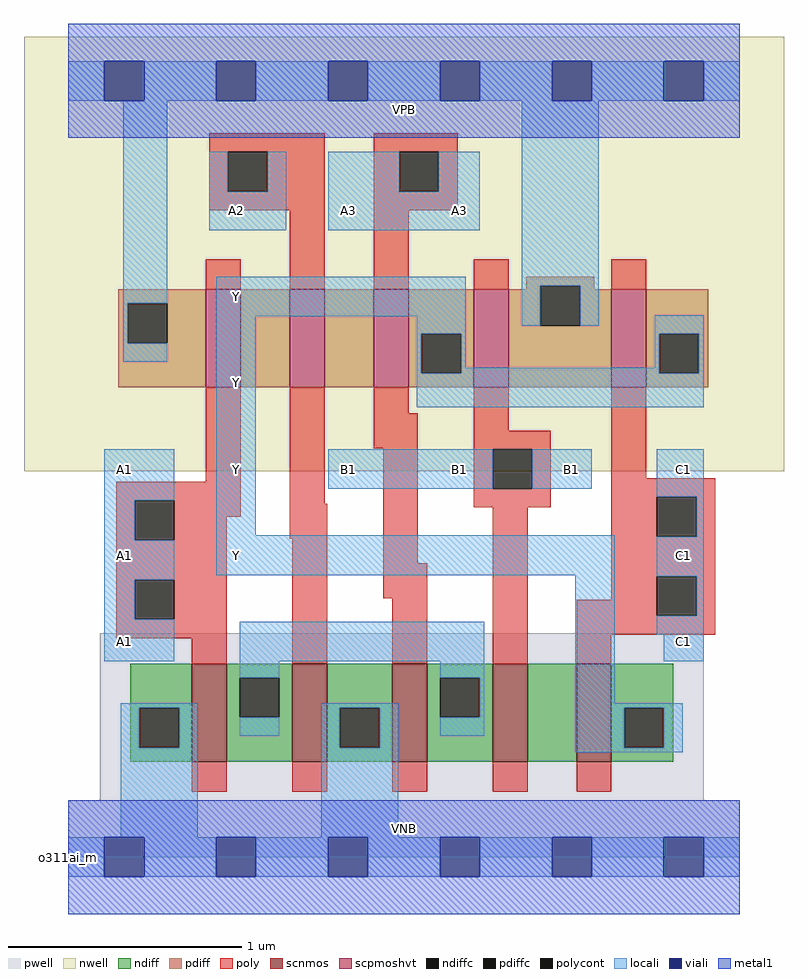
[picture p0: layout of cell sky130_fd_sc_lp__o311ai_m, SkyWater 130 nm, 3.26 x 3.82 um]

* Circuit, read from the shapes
.subckt sky130_fd_sc_lp__o311ai_m A1 A2 A3 B1 C1 VGND VNB VPB VPWR Y
XM1 n1 A1 VGND VNB sky130_fd_pr__nfet_01v8 w=0.42 l=0.15
XM2 VGND A2 n1 VNB sky130_fd_pr__nfet_01v8 w=0.42 l=0.15
XM3 n1 A3 VGND VNB sky130_fd_pr__nfet_01v8 w=0.42 l=0.15
XM4 n2 B1 n1 VNB sky130_fd_pr__nfet_01v8 w=0.42 l=0.15
XM5 Y C1 n2 VNB sky130_fd_pr__nfet_01v8 w=0.42 l=0.15
XM6 n3 A1 VPWR VPB sky130_fd_pr__pfet_01v8_hvt w=0.42 l=0.15
XM7 n4 A2 n3 VPB sky130_fd_pr__pfet_01v8_hvt w=0.42 l=0.15
XM8 Y A3 n4 VPB sky130_fd_pr__pfet_01v8_hvt w=0.42 l=0.15
XM9 VPWR B1 Y VPB sky130_fd_pr__pfet_01v8_hvt w=0.42 l=0.15
XM10 Y C1 VPWR VPB sky130_fd_pr__pfet_01v8_hvt w=0.42 l=0.15
.ends

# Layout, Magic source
magic
tech sky130A
magscale 1 2
<< nwell >>
rect -38 331 614 704
<< pwell >>
rect 27 49 545 192
rect 0 0 576 49
<< scnmos >>
rect 106 82 136 166
rect 192 82 222 166
rect 278 82 308 166
rect 364 82 394 166
rect 436 82 466 166
<< scpmoshvt >>
rect 118 403 148 487
rect 190 403 220 487
rect 262 403 292 487
rect 348 403 378 487
rect 466 403 496 487
<< ndiff >>
rect 53 128 106 166
rect 53 94 61 128
rect 95 94 106 128
rect 53 82 106 94
rect 136 154 192 166
rect 136 120 147 154
rect 181 120 192 154
rect 136 82 192 120
rect 222 128 278 166
rect 222 94 233 128
rect 267 94 278 128
rect 222 82 278 94
rect 308 154 364 166
rect 308 120 319 154
rect 353 120 364 154
rect 308 82 364 120
rect 394 82 436 166
rect 466 128 519 166
rect 466 94 477 128
rect 511 94 519 128
rect 466 82 519 94
<< pdiff >>
rect 393 490 451 498
rect 393 487 405 490
rect 43 475 118 487
rect 43 441 51 475
rect 85 441 118 475
rect 43 403 118 441
rect 148 403 190 487
rect 220 403 262 487
rect 292 449 348 487
rect 292 415 303 449
rect 337 415 348 449
rect 292 403 348 415
rect 378 456 405 487
rect 439 487 451 490
rect 439 456 466 487
rect 378 403 466 456
rect 496 449 549 487
rect 496 415 507 449
rect 541 415 549 449
rect 496 403 549 415
<< ndiffc >>
rect 61 94 95 128
rect 147 120 181 154
rect 233 94 267 128
rect 319 120 353 154
rect 477 94 511 128
<< pdiffc >>
rect 51 441 85 475
rect 303 415 337 449
rect 405 456 439 490
rect 507 415 541 449
<< poly >>
rect 121 605 220 621
rect 121 571 137 605
rect 171 571 220 605
rect 121 555 220 571
rect 118 487 148 513
rect 190 487 220 555
rect 262 605 334 621
rect 262 571 284 605
rect 318 571 334 605
rect 262 555 334 571
rect 262 487 292 555
rect 348 487 378 513
rect 466 487 496 513
rect 118 322 148 403
rect 41 306 148 322
rect 41 272 57 306
rect 91 292 148 306
rect 190 303 220 403
rect 262 381 292 403
rect 262 351 300 381
rect 91 272 136 292
rect 190 273 222 303
rect 41 238 136 272
rect 41 204 57 238
rect 91 204 136 238
rect 41 188 136 204
rect 106 166 136 188
rect 192 166 222 273
rect 270 252 300 351
rect 348 366 378 403
rect 348 350 414 366
rect 348 316 364 350
rect 398 316 414 350
rect 348 300 414 316
rect 466 325 496 403
rect 466 309 555 325
rect 270 222 308 252
rect 278 166 308 222
rect 364 166 394 300
rect 466 275 505 309
rect 539 275 555 309
rect 466 241 555 275
rect 466 221 505 241
rect 436 207 505 221
rect 539 207 555 241
rect 436 191 555 207
rect 436 166 466 191
rect 106 56 136 82
rect 192 56 222 82
rect 278 56 308 82
rect 364 56 394 82
rect 436 56 466 82
<< polycont >>
rect 137 571 171 605
rect 284 571 318 605
rect 57 272 91 306
rect 57 204 91 238
rect 364 316 398 350
rect 505 275 539 309
rect 505 207 539 241
<< locali >>
rect 0 649 31 683
rect 65 649 127 683
rect 161 649 223 683
rect 257 649 319 683
rect 353 649 415 683
rect 449 649 511 683
rect 545 649 576 683
rect 47 475 85 649
rect 121 571 137 605
rect 171 571 187 605
rect 121 538 187 571
rect 223 571 284 605
rect 318 571 353 605
rect 223 538 353 571
rect 47 441 51 475
rect 47 425 85 441
rect 127 464 341 498
rect 31 306 91 350
rect 31 272 57 306
rect 31 238 91 272
rect 127 276 161 464
rect 299 449 341 464
rect 389 490 455 649
rect 389 456 405 490
rect 439 456 455 490
rect 299 415 303 449
rect 337 420 341 449
rect 503 449 545 465
rect 503 420 507 449
rect 337 415 507 420
rect 541 415 545 449
rect 299 386 545 415
rect 223 316 364 350
rect 398 316 449 350
rect 505 309 545 350
rect 127 242 469 276
rect 31 204 57 238
rect 31 168 91 204
rect 147 168 357 202
rect 147 154 181 168
rect 45 128 111 132
rect 45 94 61 128
rect 95 94 111 128
rect 319 154 357 168
rect 147 104 181 120
rect 217 128 283 132
rect 45 17 111 94
rect 217 94 233 128
rect 267 94 283 128
rect 353 120 357 154
rect 319 104 357 120
rect 435 132 469 242
rect 539 275 545 309
rect 505 241 545 275
rect 539 207 545 241
rect 505 191 545 207
rect 511 168 545 191
rect 435 128 527 132
rect 217 17 283 94
rect 435 94 477 128
rect 511 94 527 128
rect 435 90 527 94
rect 0 -17 31 17
rect 65 -17 127 17
rect 161 -17 223 17
rect 257 -17 319 17
rect 353 -17 415 17
rect 449 -17 511 17
rect 545 -17 576 17
<< viali >>
rect 31 649 65 683
rect 127 649 161 683
rect 223 649 257 683
rect 319 649 353 683
rect 415 649 449 683
rect 511 649 545 683
rect 31 -17 65 17
rect 127 -17 161 17
rect 223 -17 257 17
rect 319 -17 353 17
rect 415 -17 449 17
rect 511 -17 545 17
<< metal1 >>
rect 0 683 576 715
rect 0 649 31 683
rect 65 649 127 683
rect 161 649 223 683
rect 257 649 319 683
rect 353 649 415 683
rect 449 649 511 683
rect 545 649 576 683
rect 0 617 576 649
rect 0 17 576 49
rect 0 -17 31 17
rect 65 -17 127 17
rect 161 -17 223 17
rect 257 -17 319 17
rect 353 -17 415 17
rect 449 -17 511 17
rect 545 -17 576 17
rect 0 -49 576 -17
<< labels >>
flabel pwell s 0 0 576 49 0 FreeSans 200 0 0 0 VNB
port 7 nsew ground bidirectional
flabel nwell s 0 617 576 666 0 FreeSans 200 0 0 0 VPB
port 8 nsew power bidirectional
rlabel comment s 0 0 0 0 4 o311ai_m
flabel metal1 s 0 617 576 666 0 FreeSans 340 0 0 0 VPWR
port 9 nsew power bidirectional
flabel metal1 s 0 0 576 49 0 FreeSans 340 0 0 0 VGND
port 6 nsew ground bidirectional
flabel locali s 127 242 161 276 0 FreeSans 340 0 0 0 Y
port 10 nsew signal output
flabel locali s 127 316 161 350 0 FreeSans 340 0 0 0 Y
port 10 nsew signal output
flabel locali s 127 390 161 424 0 FreeSans 340 0 0 0 Y
port 10 nsew signal output
flabel locali s 127 464 161 498 0 FreeSans 340 0 0 0 Y
port 10 nsew signal output
flabel locali s 223 316 257 350 0 FreeSans 340 0 0 0 B1
port 4 nsew signal input
flabel locali s 319 316 353 350 0 FreeSans 340 0 0 0 B1
port 4 nsew signal input
flabel locali s 415 316 449 350 0 FreeSans 340 0 0 0 B1
port 4 nsew signal input
flabel locali s 31 168 65 202 0 FreeSans 340 0 0 0 A1
port 1 nsew signal input
flabel locali s 31 242 65 276 0 FreeSans 340 0 0 0 A1
port 1 nsew signal input
flabel locali s 31 316 65 350 0 FreeSans 340 0 0 0 A1
port 1 nsew signal input
flabel locali s 127 538 161 572 0 FreeSans 340 0 0 0 A2
port 2 nsew signal input
flabel locali s 223 538 257 572 0 FreeSans 340 0 0 0 A3
port 3 nsew signal input
flabel locali s 319 538 353 572 0 FreeSans 340 0 0 0 A3
port 3 nsew signal input
flabel locali s 511 168 545 202 0 FreeSans 340 0 0 0 C1
port 5 nsew signal input
flabel locali s 511 242 545 276 0 FreeSans 340 0 0 0 C1
port 5 nsew signal input
flabel locali s 511 316 545 350 0 FreeSans 340 0 0 0 C1
port 5 nsew signal input
<< properties >>
string LEFsite unit
string LEFclass CORE
string FIXED_BBOX 0 0 576 666
string GDS_FILE $PDKPATH/libs.ref/sky130_fd_sc_lp/gds/sky130_fd_sc_lp.gds
string LEFsymmetry X Y R90
string GDS_END 1568138
string GDS_START 1561308
<< end >>
